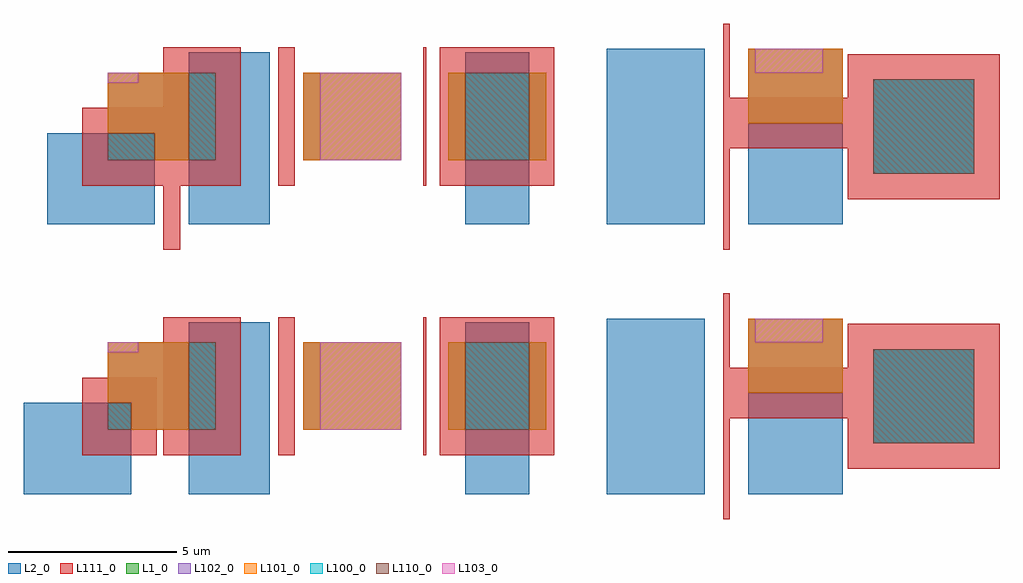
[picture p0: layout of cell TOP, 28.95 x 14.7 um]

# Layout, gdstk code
import gdstk
lib = gdstk.Library(unit=1e-6, precision=1e-09)
def R(c, l, rs):  # rectangles x0, y0, x1, y1
    for r in rs: c.add(gdstk.rectangle(r[:2], r[2:], *l))
def P(c, l, *ps):  # polygons
    for p in ps: c.add(gdstk.Polygon(p, *l))
L1_0 = (1, 0)
L2_0 = (2, 0)
L100_0 = (100, 0)
L101_0 = (101, 0)
L102_0 = (102, 0)
L103_0 = (103, 0)
L110_0 = (110, 0)
L111_0 = (111, 0)

child1 = lib.new_cell('CHILD1')
R(child1, L1_0, [(22.7,0,25.7,2.8), (0,0.4,3.2,3), (5.8,0.4,8.7,3), (10.1,0.4,13,3), (19,1.5,21.8,3.7)])
R(child1, L100_0, [(22.7,0,25.7,2.8), (0,0.4,0.7,1.2), (2.4,0.4,3.2,3), (10.6,0.4,12.5,3)])
R(child1, L101_0, [(5.8,0.4,8.7,3), (10.1,0.4,10.6,3), (12.5,0.4,13,3), (19,1.5,21.8,3.7)])
P(child1, L101_0, [(1.4,0.4),(1.4,1.2),(0,1.2),(0,3),(2.4,3),(2.4,0.4)])
R(child1, L102_0, [(22.7,0,25.7,2.8), (5.8,0.4,6.3,3), (10.1,0.4,13,3)])
P(child1, L102_0, [(19,1.5),(19,3.7),(19.2,3.7),(19.2,3),(21.2,3),(21.2,3.7),(21.8,3.7),(21.8,1.5)],
  [(0,0.4),(0,2.7),(0.9,2.7),(0.9,3),(3.2,3),(3.2,0.4)])
R(child1, L103_0, [(6.3,0.4,8.7,3), (0,2.7,0.9,3), (19.2,3,21.2,3.7)])
R(child1, L110_0, [(22.7,0,25.7,2.8), (0,0.4,0.7,1.2), (2.4,0.4,3.2,3), (10.6,0.4,12.5,3)])
R(child1, L111_0, [(-0.75,-0.35,1.45,1.95), (1.65,-0.35,3.95,3.75), (5.05,-0.35,5.55,3.75), (9.35,-0.35,9.45,3.75), (9.85,-0.35,13.25,3.75)])
P(child1, L111_0, [(18.25,-2.25),(18.25,4.45),(18.45,4.45),(18.45,2.25),(21.95,2.25),(21.95,3.55),(26.45,3.55),(26.45,-0.75),(21.95,-0.75),(21.95,0.75),(18.45,0.75),(18.45,-2.25)])

child2 = lib.new_cell('CHILD2')
R(child2, L2_0, [(0,0,3.2,2.7), (4.9,0,7.3,5.1), (13.1,0,15,5.1), (0.7,8,3.9,10.7), (4.9,8,7.3,13.1), (13.1,8,15,13.1)])
R(child2, L111_0, [(4.15,7.25,4.65,11.45)])

top = lib.new_cell('TOP')
R(top, L2_0, [(16.6,0,19.5,5.2), (20.8,0,23.6,3), (24.5,1.5,27.5,4.3), (16.6,8,19.5,13.2), (20.8,8,23.6,11), (24.5,9.5,27.5,12.3)])
R(top, L100_0, [(2.5,9.9,3.2,10.7)])
R(top, L101_0, [(2.5,1.9,3.2,2.7)])
R(top, L110_0, [(2.5,9.9,3.2,10.7)])
R(top, L111_0, [(20.05,-0.75,20.25,3.75), (23.75,0.75,24.35,3.75), (3.45,7.25,3.95,9.15), (20.05,7.25,20.25,11.75), (23.75,8.75,24.35,11.75), (3.25,9.15,3.45,11.45)])
top.add(gdstk.Reference(child1, (1.8,1.5)))
top.add(gdstk.Reference(child1, (1.8,9.5)))
top.add(gdstk.Reference(child2, (-0.7,0)))

lib.write_gds('TOP.gds')
